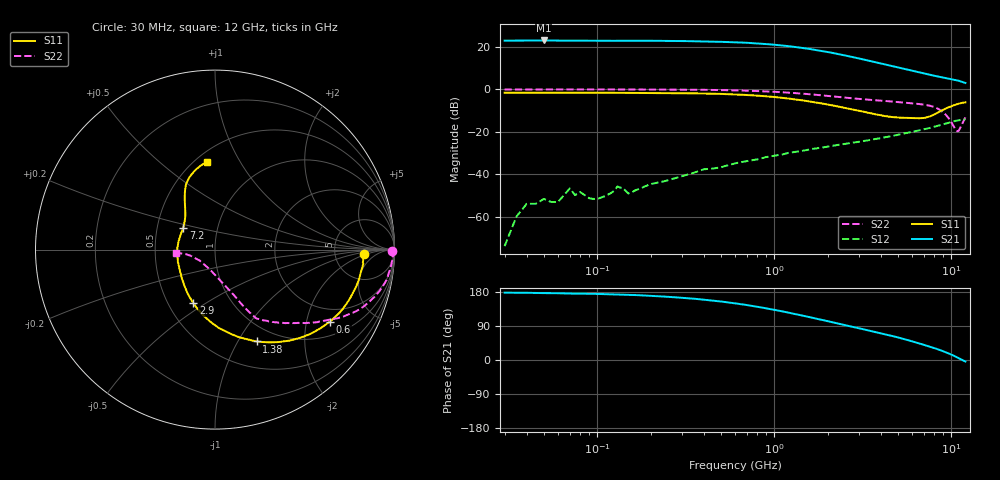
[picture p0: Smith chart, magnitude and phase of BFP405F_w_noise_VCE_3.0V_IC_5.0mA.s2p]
! Infineon Technologies  Discrete & RF Semiconductors
! BFP405F
! VCE =  3.0 V,  IC =  5.0 mA
! Common Emitter S-Parameters:  Nov 2015
# GHz  S  MA  R  50
!  f  S11  S21  S12  S22
! GHz  MAG  ANG  MAG  ANG  MAG  ANG  MAG  ANG
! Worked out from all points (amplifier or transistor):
!   239 points, 30 MHz to 12 GHz, reference 50 ohm
!   highest |S21| = 23.0 dB at 50 MHz (marker M1)
!   |S21| within 3 dB of that: start of sweep to 1.293 GHz
!   unconditionally stable (mu >= 1): start of sweep to 31.24 MHz; 2.95 GHz to end of sweep
!   at 300 MHz: K = 0.16, MSG = 31.9 dB, |S12| = -41.0 dB
!   at 1.88 GHz: K = 0.66, MSG = 22.7 dB, |S12| = -27.4 dB
!   at 12 GHz: K = 1.46, MAG = 4.5 dB, |S12| = -14.1 dB
!   lowest NFmin = 1.29 dB at 450 MHz
!   S11 on the Smith chart (normalised r, x): 30 MHz: 10, -2; 600 MHz: 1.48, -2.77; 1.38 GHz: 0.80, -1.20; 2.9 GHz: 0.67, -0.44; 7.2 GHz: 0.68, +0.18; 12 GHz: 0.57, +0.73
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0.03  0.828 -1.6  14.01 177.6  0.0002 -8.4  0.9879 -0.6
0.04  0.8271 -2.0  14.02 177.4  0.002 93.5  0.991 -0.8
0.05  0.8266 -2.9  14.15 176.5  0.0026 32.7  0.991 -1.2
0.06  0.8277 -3.1  13.98 176.2  0.0022 76.0  0.9906 -1.3
0.07  0.8286 -3.6  14.01 175.3  0.0046 38.2  0.9894 -1.7
0.085  0.8271 -4.5  13.96 174.9  0.0032 109.1  0.9933 -2.0
0.13  0.8258 -7.2  13.91 172.9  0.0051 106.5  0.99 -3.3
0.15  0.8229 -8.4  13.94 172.3  0.0035 65.6  0.9887 -3.7
0.24  0.8162 -13.2  13.78 167.3  0.0068 79.4  0.9837 -6.0
0.4  0.7942 -21.8  13.46 159.2  0.013 84.2  0.9718 -9.9
0.6  0.756 -32.0  12.8 149.5  0.0179 76.7  0.9424 -14.5
0.7  0.7325 -36.9  12.48 145.0  0.0203 74.8  0.9268 -16.5
0.92  0.6772 -46.9  11.57 135.5  0.0256 71.2  0.8872 -20.9
1.2  0.6051 -58.7  10.39 125.0  0.0316 66.6  0.833 -25.4
1.38  0.5625 -65.5  9.655 119.1  0.0344 65.2  0.7997 -28.0
1.64  0.5053 -74.8  8.697 111.5  0.0393 62.9  0.7546 -31.0
2.2  0.4058 -93.1  7.012 97.9  0.0474 59.1  0.6724 -37.4
2.9  0.3218 -112.1  5.499 85.4  0.0565 57.1  0.6014 -42.9
4.5  0.2255 -151.9  3.619 64.9  0.0775 53.5  0.5182 -51.1
7.2  0.2151 145.2  2.299 38.1  0.1169 46.2  0.4247 -60.0
10.8  0.4449 106.1  1.617 6.4  0.1833 29.2  0.1024 -127.5
12  0.4897 95.2  1.407 -4.0  0.197 22.8  0.2178 -175.4
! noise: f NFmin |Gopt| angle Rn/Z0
0.45  1.29  0.38  5  0.34
0.9  1.3  0.35  13  0.36
1.5  1.37  0.33  18  0.31
1.9  1.4  0.31  25  0.32
2.4  1.56  0.29  33  0.34
3  1.63  0.27  45  0.32
3.5  1.68  0.25  54  0.31
4.5  1.84  0.2  66  0.28
5.5  2.06  0.12  78  0.11
